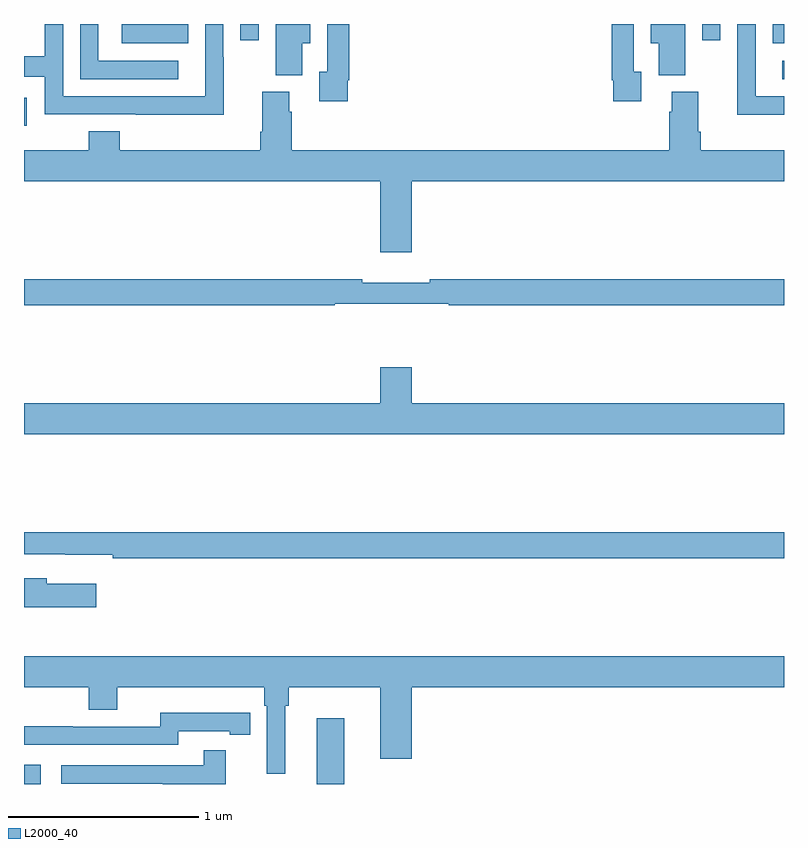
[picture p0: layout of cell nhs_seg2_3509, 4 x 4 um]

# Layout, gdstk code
import gdstk
lib = gdstk.Library(unit=1e-6, precision=1e-09)
def R(c, l, rs):  # rectangles x0, y0, x1, y1
    for r in rs: c.add(gdstk.rectangle(r[:2], r[2:], *l))
def P(c, l, *ps):  # polygons
    for p in ps: c.add(gdstk.Polygon(p, *l))
L2000_40 = (2000, 40)

nhs_seg2_3509 = lib.new_cell('nhs_seg2_3509')
R(nhs_seg2_3509, L2000_40, [(295,641.8,295.087,641.902), (296.54,641.8,296.686,642.145), (295,645.264,295.015,645.411), (298.992,645.51,299,645.606), (295.515,645.698,295.864,645.8), (298.94,645.698,299,645.8), (296.139,645.714,296.235,645.8), (298.569,645.714,298.665,645.8)])
P(nhs_seg2_3509, L2000_40, [(295.813,645.606),(295.392,645.606),(295.392,645.8),(295.296,645.8),(295.296,645.51),(295.813,645.51)],
  [(298.249,645.549),(298.209,645.549),(298.209,645.8),(298.093,645.8),(298.093,645.505),(298.101,645.505),(298.101,645.393),(298.249,645.393)],
  [(298.48,645.8),(298.298,645.8),(298.298,645.698),(298.34,645.698),(298.34,645.529),(298.48,645.529)],
  [(296.704,645.505),(296.711,645.505),(296.711,645.8),(296.595,645.8),(296.595,645.549),(296.555,645.549),(296.555,645.393),(296.704,645.393)],
  [(296.464,645.698),(296.506,645.698),(296.506,645.8),(296.324,645.8),(296.324,645.529),(296.464,645.529)],
  [(299,645.42),(298.851,645.42),(298.851,645.8),(298.755,645.8),(298.755,645.626),(298.754,645.626),(298.754,645.323),(299,645.323)],
  [(296.051,645.626),(296.049,645.626),(296.049,645.8),(295.953,645.8),(295.953,645.42),(295.206,645.42),(295.206,645.8),(295.109,645.8),(295.109,645.631),(295,645.631),(295,645.522),(295.11,645.522),(295.11,645.324),(295.588,645.324),(295.588,645.323),(296.051,645.323)],
  [(297.04,644.972),(299,644.972),(299,645.136),(298.562,645.136),(298.562,645.232),(298.549,645.232),(298.549,645.444),(298.409,645.444),(298.409,645.338),(298.397,645.338),(298.397,645.136),(296.408,645.136),(296.408,645.338),(296.395,645.338),(296.395,645.444),(296.255,645.444),(296.255,645.232),(296.243,645.232),(296.243,645.136),(295.505,645.136),(295.505,645.235),(295.34,645.235),(295.34,645.136),(295,645.136),(295,644.972),(296.876,644.972),(296.876,644.598),(297.04,644.598)],
  [(296.636,644.328),(297.236,644.328),(297.236,644.32),(299,644.32),(299,644.456),(297.136,644.456),(297.136,644.437),(296.78,644.437),(296.78,644.456),(295,644.456),(295,644.32),(296.636,644.32)],
  [(299,643.804),(297.04,643.804),(297.04,643.993),(296.876,643.993),(296.876,643.804),(295,643.804),(295,643.64),(299,643.64)],
  [(299,643.124),(295,643.124),(295,643.008),(295.216,643.008),(295.216,643.007),(295.468,643.007),(295.468,642.988),(299,642.988)],
  [(295.381,642.853),(295.12,642.853),(295.12,642.882),(295,642.882),(295,642.731),(295.381,642.731)],
  [(296.374,642.212),(296.393,642.212),(296.393,642.308),(296.876,642.308),(296.876,641.934),(297.04,641.934),(297.04,642.308),(299,642.308),(299,642.472),(295,642.472),(295,642.308),(295.34,642.308),(295.34,642.191),(295.492,642.191),(295.492,642.308),(296.264,642.308),(296.264,642.212),(296.277,642.212),(296.277,641.853),(296.374,641.853)],
  [(295.812,642.078),(296.084,642.078),(296.084,642.058),(296.192,642.058),(296.192,642.174),(296.084,642.174),(296.084,642.175),(295.716,642.175),(295.716,642.102),(295.256,642.102),(295.256,642.104),(295,642.104),(295,642.006),(295.812,642.006)],
  [(296.063,641.977),(295.945,641.977),(295.945,641.898),(295.197,641.898),(295.197,641.802),(295.729,641.802),(295.729,641.8),(296.063,641.8)])

lib.write_gds('nhs_seg2_3509.gds')
